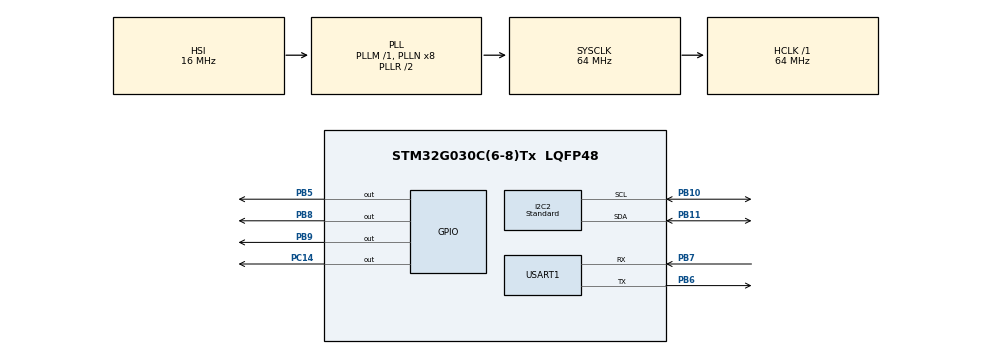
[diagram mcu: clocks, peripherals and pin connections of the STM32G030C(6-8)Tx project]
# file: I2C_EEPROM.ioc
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I2C2.I2C_Speed_Mode=I2C_Standard
I2C2.Timing=0x10B17DB5
Mcu.Family=STM32G0
Mcu.Name=STM32G030C(6-8)Tx
Mcu.Package=LQFP48
PA13.Mode=Serial_Wire
PA13.Signal=SYS_SWDIO
PA14-BOOT0.Mode=Serial_Wire
PA14-BOOT0.Signal=SYS_SWCLK
PB10.GPIO_Pu=GPIO_NOPULL
PB10.Mode=I2C
PB10.Signal=I2C2_SCL
PB11.GPIO_Pu=GPIO_NOPULL
PB11.Mode=I2C
PB11.Signal=I2C2_SDA
PB5.Signal=GPIO_Output
PB6.Mode=Asynchronous
PB6.Signal=USART1_TX
PB7.Mode=Asynchronous
PB7.Signal=USART1_RX
PB8.Signal=GPIO_Output
PB9.Signal=GPIO_Output
PC14-OSC32_IN\ (PC14).Signal=GPIO_Output
PF0-OSC_IN\ (PF0).Mode=HSE-External-Oscillator
PF0-OSC_IN\ (PF0).Signal=RCC_OSC_IN
PF1-OSC_OUT\ (PF1).Mode=HSE-External-Oscillator
PF1-OSC_OUT\ (PF1).Signal=RCC_OSC_OUT
ProjectManager.HeapSize=0x200
ProjectManager.StackSize=0x400
ProjectManager.TargetToolchain=STM32CubeIDE
RCC.ADCFreq_Value=64000000
RCC.AHBFreq_Value=64000000
RCC.CortexFreq_Value=64000000
RCC.EXTERNAL_CLOCK_VALUE=12288000
RCC.HCLKFreq_Value=64000000
RCC.HSE_VALUE=8000000
RCC.HSI_VALUE=16000000
RCC.LSE_VALUE=32768
RCC.SYSCLKFreq_VALUE=64000000
RCC.SYSCLKSource=RCC_SYSCLKSOURCE_PLLCLK
RCC.VCOOutputFreq_Value=128000000
USART1.VirtualMode-Asynchronous=VM_ASYNC
board=custom

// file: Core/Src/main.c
/* USER CODE BEGIN Header */
/**
  ******************************************************************************
  * @file           : main.c
  * @brief          : Main program body
  ******************************************************************************
  * @attention
  *
  * Copyright (c) 2025 STMicroelectronics.
  * All rights reserved.
  *
  * This software is licensed under terms that can be found in the LICENSE file
  * in the root directory of this software component.
  * If no LICENSE file comes with this software, it is provided AS-IS.
  *
  ******************************************************************************
  */
/* USER CODE END Header */
#include "main.h"

/* USER CODE BEGIN Includes */
#include "string.h"
#include "stdio.h"
/* USER CODE END Includes */

/* USER CODE BEGIN PD */
// 24C02 EEPROM'a özel tanımlamalar
#define EEPROM_DEV_ADDRESS      0x50 // 24C02 EEPROM'un 7-bit I2C adresi (A0, A1, A2 GND'ye baglı ise 0x50)
#define EEPROM_MEM_ADD_SIZE     1    // 24C02 için hafıza adresi boyutu 1 bayt (0x00-0xFF adres aralığı)
#define I2C_COMM_TIMEOUT        100  // I2C işlemleri için zaman aşımı (ms)

// 24C02 için tipik yazma döngüsü süresi (veri sayfasından kontrol edin, genellikle 5ms)
#define EEPROM_WRITE_CYCLE_TIME_MS 5
/* USER CODE END PD */

I2C_HandleTypeDef hi2c2;

UART_HandleTypeDef huart1;

/* USER CODE BEGIN PV */

uint8_t data_to_write; // EEPROM'a yazılacak tek baytlık veri
uint8_t data_read;     // EEPROM'dan okunacak tek baytlık veri

uint8_t data_to_write = 0x55;
uint8_t data_read = 0x00;
uint16_t target_memory_address = 0x00;

/* USER CODE END PV */

void SystemClock_Config(void);
static void MX_GPIO_Init(void);
static void MX_I2C2_Init(void);
static void MX_USART1_UART_Init(void);

int main(void)
{

  /* MCU Configuration--------------------------------------------------------*/

  /* Reset of all peripherals, Initializes the Flash interface and the Systick. */
  HAL_Init();

  /* Configure the system clock */
  SystemClock_Config();

  /* Initialize all configured peripherals */
  MX_GPIO_Init();
  MX_I2C2_Init();
  MX_USART1_UART_Init();
  /* USER CODE BEGIN 2 */
  uint16_t target_memory_address = 0x00; // Yazılacak EEPROM adresi
  uint8_t data_to_write = 0x55;
  uint8_t data_read = 0;

  HAL_StatusTypeDef status;
  char buffer[50];

  // EEPROM’a yaz
  status = HAL_I2C_Mem_Write(&hi2c2, EEPROM_DEV_ADDRESS << 1, target_memory_address, EEPROM_MEM_ADD_SIZE, &data_to_write, 1, I2C_COMM_TIMEOUT);

    sprintf(buffer, "Adres: 0x%02X, Okunan veri: 0x%02X\r\n", target_memory_address, data_to_write);
    HAL_UART_Transmit(&huart1, (uint8_t*)buffer, strlen(buffer), HAL_MAX_DELAY);

  if (status != HAL_OK) {
      Error_Handler();
  }

  // Yazma döngüsünü bekle
  HAL_Delay(EEPROM_WRITE_CYCLE_TIME_MS); // genelde 5ms

  // EEPROM’dan oku
  status = HAL_I2C_Mem_Read(&hi2c2, EEPROM_DEV_ADDRESS << 1, target_memory_address, EEPROM_MEM_ADD_SIZE, &data_read, 1, I2C_COMM_TIMEOUT);

  if (status != HAL_OK) {
      Error_Handler();
  }

  	sprintf(buffer, "Adres: 0x%02X, Okunan veri: 0x%02X\r\n", target_memory_address, data_read);
	HAL_UART_Transmit(&huart1, (uint8_t*)buffer, strlen(buffer), HAL_MAX_DELAY);

  /* USER CODE END 2 */

  /* Infinite loop */
  while (1)
  {

  }
}

void SystemClock_Config(void)
{
  RCC_OscInitTypeDef RCC_OscInitStruct = {0};
  RCC_ClkInitTypeDef RCC_ClkInitStruct = {0};

  /** Configure the main internal regulator output voltage
  */
  HAL_PWREx_ControlVoltageScaling(PWR_REGULATOR_VOLTAGE_SCALE1);

  /** Initializes the RCC Oscillators according to the specified parameters
  * in the RCC_OscInitTypeDef structure.
  */
  RCC_OscInitStruct.OscillatorType = RCC_OSCILLATORTYPE_HSI;
  RCC_OscInitStruct.HSIState = RCC_HSI_ON;
  RCC_OscInitStruct.HSIDiv = RCC_HSI_DIV1;
  RCC_OscInitStruct.HSICalibrationValue = RCC_HSICALIBRATION_DEFAULT;
  RCC_OscInitStruct.PLL.PLLState = RCC_PLL_ON;
  RCC_OscInitStruct.PLL.PLLSource = RCC_PLLSOURCE_HSI;
  RCC_OscInitStruct.PLL.PLLM = RCC_PLLM_DIV1;
  RCC_OscInitStruct.PLL.PLLN = 8;
  RCC_OscInitStruct.PLL.PLLP = RCC_PLLP_DIV2;
  RCC_OscInitStruct.PLL.PLLR = RCC_PLLR_DIV2;
  if (HAL_RCC_OscConfig(&RCC_OscInitStruct) != HAL_OK)
  {
    Error_Handler();
  }

  /** Initializes the CPU, AHB and APB buses clocks
  */
  RCC_ClkInitStruct.ClockType = RCC_CLOCKTYPE_HCLK|RCC_CLOCKTYPE_SYSCLK
                              |RCC_CLOCKTYPE_PCLK1;
  RCC_ClkInitStruct.SYSCLKSource = RCC_SYSCLKSOURCE_PLLCLK;
  RCC_ClkInitStruct.AHBCLKDivider = RCC_SYSCLK_DIV1;
  RCC_ClkInitStruct.APB1CLKDivider = RCC_HCLK_DIV1;

  if (HAL_RCC_ClockConfig(&RCC_ClkInitStruct, FLASH_LATENCY_2) != HAL_OK)
  {
    Error_Handler();
  }
}

static void MX_I2C2_Init(void)
{

  hi2c2.Instance = I2C2;
  hi2c2.Init.Timing = 0x00C12166;
  hi2c2.Init.OwnAddress1 = 0;
  hi2c2.Init.AddressingMode = I2C_ADDRESSINGMODE_7BIT;
  hi2c2.Init.DualAddressMode = I2C_DUALADDRESS_DISABLE;
  hi2c2.Init.OwnAddress2 = 0;
  hi2c2.Init.OwnAddress2Masks = I2C_OA2_NOMASK;
  hi2c2.Init.GeneralCallMode = I2C_GENERALCALL_DISABLE;
  hi2c2.Init.NoStretchMode = I2C_NOSTRETCH_DISABLE;
  if (HAL_I2C_Init(&hi2c2) != HAL_OK)
  {
    Error_Handler();
  }

  /** Configure Analogue filter
  */
  if (HAL_I2CEx_ConfigAnalogFilter(&hi2c2, I2C_ANALOGFILTER_ENABLE) != HAL_OK)
  {
    Error_Handler();
  }

  /** Configure Digital filter
  */
  if (HAL_I2CEx_ConfigDigitalFilter(&hi2c2, 0) != HAL_OK)
  {
    Error_Handler();
  }

}

static void MX_USART1_UART_Init(void)
{

  huart1.Instance = USART1;
  huart1.Init.BaudRate = 115200;
  huart1.Init.WordLength = UART_WORDLENGTH_8B;
  huart1.Init.StopBits = UART_STOPBITS_1;
  huart1.Init.Parity = UART_PARITY_NONE;
  huart1.Init.Mode = UART_MODE_TX_RX;
  huart1.Init.HwFlowCtl = UART_HWCONTROL_NONE;
  huart1.Init.OverSampling = UART_OVERSAMPLING_16;
  huart1.Init.OneBitSampling = UART_ONE_BIT_SAMPLE_DISABLE;
  huart1.Init.ClockPrescaler = UART_PRESCALER_DIV1;
  huart1.AdvancedInit.AdvFeatureInit = UART_ADVFEATURE_NO_INIT;
  if (HAL_UART_Init(&huart1) != HAL_OK)
  {
    Error_Handler();
  }
  if (HAL_UARTEx_SetTxFifoThreshold(&huart1, UART_TXFIFO_THRESHOLD_1_8) != HAL_OK)
  {
    Error_Handler();
  }
  if (HAL_UARTEx_SetRxFifoThreshold(&huart1, UART_RXFIFO_THRESHOLD_1_8) != HAL_OK)
  {
    Error_Handler();
  }
  if (HAL_UARTEx_DisableFifoMode(&huart1) != HAL_OK)
  {
    Error_Handler();
  }

}

static void MX_GPIO_Init(void)
{
  GPIO_InitTypeDef GPIO_InitStruct = {0};

  /* GPIO Ports Clock Enable */
  __HAL_RCC_GPIOC_CLK_ENABLE();
  __HAL_RCC_GPIOF_CLK_ENABLE();
  __HAL_RCC_GPIOB_CLK_ENABLE();
  __HAL_RCC_GPIOA_CLK_ENABLE();

  /*Configure GPIO pin Output Level */
  HAL_GPIO_WritePin(GPIOC, GPIO_PIN_14, GPIO_PIN_RESET);

  /*Configure GPIO pin Output Level */
  HAL_GPIO_WritePin(GPIOB, GPIO_PIN_5|GPIO_PIN_8|GPIO_PIN_9, GPIO_PIN_RESET);

  /*Configure GPIO pin : PC14 */
  GPIO_InitStruct.Pin = GPIO_PIN_14;
  GPIO_InitStruct.Mode = GPIO_MODE_OUTPUT_PP;
  GPIO_InitStruct.Pull = GPIO_NOPULL;
  GPIO_InitStruct.Speed = GPIO_SPEED_FREQ_LOW;
  HAL_GPIO_Init(GPIOC, &GPIO_InitStruct);

  /*Configure GPIO pins : PB5 PB8 PB9 */
  GPIO_InitStruct.Pin = GPIO_PIN_5|GPIO_PIN_8|GPIO_PIN_9;
  GPIO_InitStruct.Mode = GPIO_MODE_OUTPUT_PP;
  GPIO_InitStruct.Pull = GPIO_NOPULL;
  GPIO_InitStruct.Speed = GPIO_SPEED_FREQ_LOW;
  HAL_GPIO_Init(GPIOB, &GPIO_InitStruct);

}

void Error_Handler(void)
{
  __disable_irq();
  while (1)
  {
  }
}
